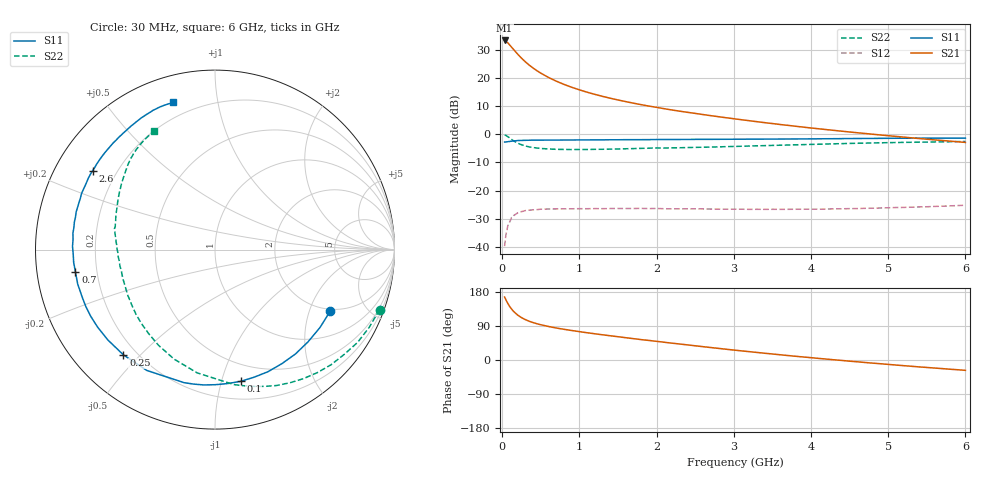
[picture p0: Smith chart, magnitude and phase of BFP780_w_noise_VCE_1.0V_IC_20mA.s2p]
! Infineon Technologies  Discrete & RF Semiconductors
! BFP780
! VCE =  1.0 V,  IC =  20 mA
! Common Emitter S-Parameters:  Jul 2015
# GHz  S  MA  R  50
!  f  S11  S21  S12  S22
! GHz  MAG  ANG  MAG  ANG  MAG  ANG  MAG  ANG
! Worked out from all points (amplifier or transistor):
!   75 points, 30 MHz to 6 GHz, reference 50 ohm
!   highest |S21| = 33.2 dB at 30 MHz (marker M1)
!   |S21| within 3 dB of that: start of sweep to 140 MHz
!   unconditionally stable (mu >= 1): 2.4 GHz to end of sweep
!   at 150 MHz: K = 0.07, MSG = 29.3 dB, |S12| = -28.8 dB
!   at 2.3 GHz: K = 0.97, MSG = 17.3 dB, |S12| = -26.4 dB
!   at 6 GHz: K = 1.77, MAG = 6.0 dB, |S12| = -25.1 dB
!   lowest NFmin = 0.94 dB at 450 MHz
!   S11 on the Smith chart (normalised r, x): 30 MHz: 1.91, -2.79; 100 MHz: 0.35, -1.15; 250 MHz: 0.15, -0.45; 700 MHz: 0.12, -0.08; 2.6 GHz: 0.11, +0.29; 6 GHz: 0.12, +0.75
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0.03  0.7278 -28.1  45.88 166.1  0.0104 77.8  0.976 -20.1
0.05  0.7299 -44.7  44.11 157.4  0.0175 71.2  0.948 -33.0
0.07  0.7367 -59.6  41.71 149.9  0.0235 63.5  0.9108 -44.8
0.08  0.7416 -66.6  40.39 146.4  0.0256 59.2  0.8912 -50.3
0.1  0.7478 -79.0  37.55 140.1  0.0287 53.9  0.8515 -60.6
0.13  0.7567 -94.7  33.72 132.0  0.034 44.9  0.7918 -74.2
0.15  0.7611 -103.0  31.3 127.5  0.0365 40.8  0.7601 -81.9
0.2  0.773 -119.4  26.17 118.4  0.0404 32.6  0.694 -98.2
0.25  0.7775 -131.0  22.21 111.7  0.0426 27.3  0.6513 -110.5
0.3  0.7809 -139.9  19.14 106.4  0.0444 22.9  0.619 -120.6
0.4  0.7859 -151.9  14.85 98.7  0.0457 17.4  0.581 -134.9
0.5  0.7859 -160.0  12.06 93.0  0.047 14.2  0.5598 -144.9
0.7  0.7875 -170.9  8.71 84.4  0.0475 9.5  0.5404 -158.2
0.9  0.7905 -178.3  6.79 77.8  0.0478 6.9  0.5351 -166.9
1.1  0.7929 175.9  5.549 71.9  0.0479 5.2  0.5373 -173.4
1.5  0.7981 166.9  4.044 61.4  0.0484 2.6  0.5482 177.3
2.1  0.8064 155.7  2.831 46.8  0.0479 -0.4  0.5703 167.0
2.6  0.8115 147.2  2.233 35.2  0.0475 -1.8  0.5891 158.8
3.1  0.8169 139.4  1.807 24.1  0.047 -2.2  0.613 151.2
4.1  0.8304 125.2  1.25 4.2  0.0471 -1.3  0.6656 138.1
5.1  0.8494 114.0  0.916 -13.3  0.0503 0.0  0.7132 126.9
6  0.8522 105.9  0.717 -27.3  0.0553 -0.4  0.7434 117.0
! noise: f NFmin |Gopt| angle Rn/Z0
0.45  0.94  0.15  144  0.07
0.9  1  0.21  161  0.09
1.5  1.11  0.31  175  0.06
1.8  1.3  0.38  -175  0.07
2.4  1.47  0.43  -159  0.08
3  1.8  0.48  -146  0.12
3.5  2.39  0.54  -130  0.2
